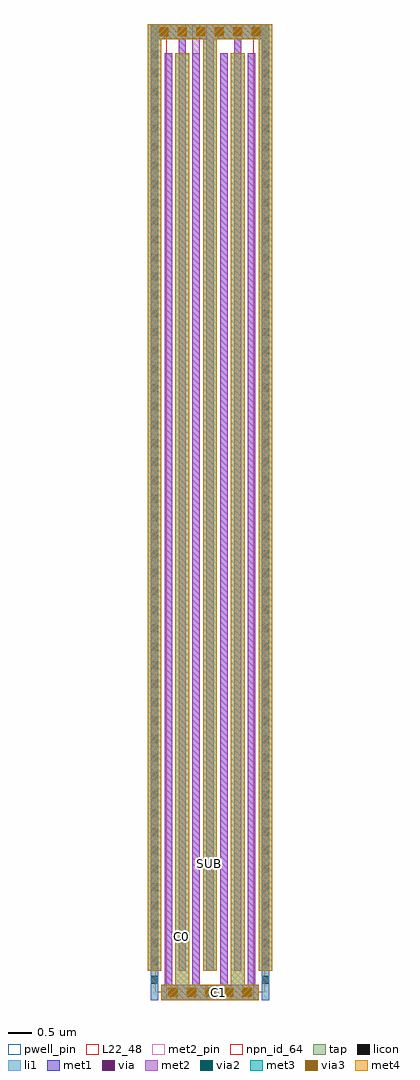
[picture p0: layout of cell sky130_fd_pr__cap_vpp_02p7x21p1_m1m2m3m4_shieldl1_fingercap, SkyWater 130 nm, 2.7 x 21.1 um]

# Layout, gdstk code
import gdstk
lib = gdstk.Library(unit=1e-6, precision=1e-09)
def R(c, l, rs):  # rectangles x0, y0, x1, y1
    for r in rs: c.add(gdstk.rectangle(r[:2], r[2:], *l))
def A(c, l, x, y, w, h, nx, ny, dx, dy):  # array of equal rectangles
    R(c, l, [(x+i*dx, y+j*dy, x+i*dx+w, y+j*dy+h) for i in range(nx) for j in range(ny)])
L22_48 = (22, 48)
tap = (65, 44)
licon = (66, 44)
li1 = (67, 20)
met1 = (68, 20)
via = (68, 44)
met2_pin = (69, 16)
met2 = (69, 20)
via2 = (69, 44)
met3 = (70, 20)
via3 = (70, 44)
met4 = (71, 20)
npn_id_64 = (82, 64)
pwell_pin = (122, 16)

sky130_fd_pr__cap_vpp_02 = lib.new_cell('sky130_fd_pr__cap_vpp_02p7x21p1_m1m2m3m4_shieldl1_fingercap')
R(sky130_fd_pr__cap_vpp_02, L22_48, [(0.405,0,2.295,21.1)])
R(sky130_fd_pr__cap_vpp_02, tap, [(0.065,0,0.235,21.1), (2.465,0,2.635,21.1)])
A(sky130_fd_pr__cap_vpp_02, licon, 0.065, 0.355, 0.17, 0.17, 1, 51, 0, 0.4)
A(sky130_fd_pr__cap_vpp_02, licon, 2.465, 0.355, 0.17, 0.17, 1, 51, 0, 0.4)
R(sky130_fd_pr__cap_vpp_02, li1, [(0.065,0,0.235,21.1), (2.465,0,2.635,21.1)])
A(sky130_fd_pr__cap_vpp_02, via, 0.475, 0.09, 0.15, 0.15, 5, 1, 0.4, 0)
A(sky130_fd_pr__cap_vpp_02, via, 1.475, 20.86, 0.15, 0.15, 3, 1, 0.4, 0)
R(sky130_fd_pr__cap_vpp_02, via, [(0.275,20.86,0.425,21.01)])
R(sky130_fd_pr__cap_vpp_02, met2_pin, [(1.425,0.075,1.605,0.255), (0.69,1.32,0.785,1.42)])
A(sky130_fd_pr__cap_vpp_02, via2, 0.45, 0.065, 0.2, 0.2, 5, 1, 0.4, 0)
A(sky130_fd_pr__cap_vpp_02, via2, 1.45, 20.835, 0.2, 0.2, 3, 1, 0.4, 0)
R(sky130_fd_pr__cap_vpp_02, via2, [(0.25,20.835,0.45,21.035)])
A(sky130_fd_pr__cap_vpp_02, via3, 0.45, 0.065, 0.2, 0.2, 5, 1, 0.4, 0)
A(sky130_fd_pr__cap_vpp_02, via3, 0.25, 20.835, 0.2, 0.2, 6, 1, 0.4, 0)
R(sky130_fd_pr__cap_vpp_02, npn_id_64, [(0.17,0.17,2.53,20.93)])
R(sky130_fd_pr__cap_vpp_02, pwell_pin, [(1.275,2.83,1.38,3.075)])
sky130_fd_pr__cap_vpp_02.add(gdstk.FlexPath([(0.15,20.77),(0.15,0.63)], 0.3, ends="flush", simple_path=True, layer=70, datatype=20))  # met3
sky130_fd_pr__cap_vpp_02.add(gdstk.FlexPath([(2.55,20.77),(2.55,0.63)], 0.3, ends="flush", simple_path=True, layer=70, datatype=20))  # met3
sky130_fd_pr__cap_vpp_02.add(gdstk.FlexPath([(1.35,20.77),(1.35,0.63)], 0.3, ends="flush", simple_path=True, layer=70, datatype=20))  # met3
sky130_fd_pr__cap_vpp_02.add(gdstk.FlexPath([(0.75,20.47),(0.75,0.33)], 0.3, ends="flush", simple_path=True, layer=70, datatype=20))  # met3
sky130_fd_pr__cap_vpp_02.add(gdstk.FlexPath([(1.95,20.47),(1.95,0.33)], 0.3, ends="flush", simple_path=True, layer=70, datatype=20))  # met3
sky130_fd_pr__cap_vpp_02.add(gdstk.FlexPath([(0,20.935),(2.7,20.935)], 0.33, ends="flush", simple_path=True, layer=70, datatype=20))  # met3
sky130_fd_pr__cap_vpp_02.add(gdstk.FlexPath([(0.3,0.165),(2.4,0.165)], 0.33, ends="flush", simple_path=True, layer=70, datatype=20))  # met3
sky130_fd_pr__cap_vpp_02.add(gdstk.FlexPath([(1.27,20.935),(2.63,20.935)], 0.33, ends="flush", simple_path=True, layer=69, datatype=20))  # met2
sky130_fd_pr__cap_vpp_02.add(gdstk.FlexPath([(0.3,0.165),(2.4,0.165)], 0.33, ends="flush", simple_path=True, layer=69, datatype=20))  # met2
sky130_fd_pr__cap_vpp_02.add(gdstk.FlexPath([(0.45,20.47),(0.45,0.33)], 0.16, ends="flush", simple_path=True, layer=69, datatype=20))  # met2
sky130_fd_pr__cap_vpp_02.add(gdstk.FlexPath([(0.15,20.77),(0.15,0.63)], 0.16, ends="flush", simple_path=True, layer=69, datatype=20))  # met2
sky130_fd_pr__cap_vpp_02.add(gdstk.FlexPath([(1.05,21.1),(1.05,0.33)], 0.16, ends="flush", simple_path=True, layer=69, datatype=20))  # met2
sky130_fd_pr__cap_vpp_02.add(gdstk.FlexPath([(0.75,20.77),(0.75,0.63)], 0.16, ends="flush", simple_path=True, layer=69, datatype=20))  # met2
sky130_fd_pr__cap_vpp_02.add(gdstk.FlexPath([(1.65,20.47),(1.65,0.33)], 0.16, ends="flush", simple_path=True, layer=69, datatype=20))  # met2
sky130_fd_pr__cap_vpp_02.add(gdstk.FlexPath([(1.35,20.77),(1.35,0.63)], 0.16, ends="flush", simple_path=True, layer=69, datatype=20))  # met2
sky130_fd_pr__cap_vpp_02.add(gdstk.FlexPath([(2.25,20.47),(2.25,0.33)], 0.16, ends="flush", simple_path=True, layer=69, datatype=20))  # met2
sky130_fd_pr__cap_vpp_02.add(gdstk.FlexPath([(1.95,20.77),(1.95,0.63)], 0.16, ends="flush", simple_path=True, layer=69, datatype=20))  # met2
sky130_fd_pr__cap_vpp_02.add(gdstk.FlexPath([(2.55,20.77),(2.55,0.63)], 0.16, ends="flush", simple_path=True, layer=69, datatype=20))  # met2
sky130_fd_pr__cap_vpp_02.add(gdstk.FlexPath([(0.07,20.935),(0.83,20.935)], 0.33, ends="flush", simple_path=True, layer=69, datatype=20))  # met2
sky130_fd_pr__cap_vpp_02.add(gdstk.FlexPath([(0.75,20.77),(0.75,0.63)], 0.16, ends="flush", simple_path=True, layer=68, datatype=20))  # met1
sky130_fd_pr__cap_vpp_02.add(gdstk.FlexPath([(1.05,20.47),(1.05,0.33)], 0.16, ends="flush", simple_path=True, layer=68, datatype=20))  # met1
sky130_fd_pr__cap_vpp_02.add(gdstk.FlexPath([(0.3,0.165),(2.4,0.165)], 0.33, ends="flush", simple_path=True, layer=68, datatype=20))  # met1
sky130_fd_pr__cap_vpp_02.add(gdstk.FlexPath([(2.25,20.47),(2.25,0.33)], 0.16, ends="flush", simple_path=True, layer=68, datatype=20))  # met1
sky130_fd_pr__cap_vpp_02.add(gdstk.FlexPath([(2.55,20.77),(2.55,0.63)], 0.16, ends="flush", simple_path=True, layer=68, datatype=20))  # met1
sky130_fd_pr__cap_vpp_02.add(gdstk.FlexPath([(1.95,20.77),(1.95,0.63)], 0.16, ends="flush", simple_path=True, layer=68, datatype=20))  # met1
sky130_fd_pr__cap_vpp_02.add(gdstk.FlexPath([(0.07,20.935),(2.63,20.935)], 0.33, ends="flush", simple_path=True, layer=68, datatype=20))  # met1
sky130_fd_pr__cap_vpp_02.add(gdstk.FlexPath([(1.65,20.47),(1.65,0.33)], 0.16, ends="flush", simple_path=True, layer=68, datatype=20))  # met1
sky130_fd_pr__cap_vpp_02.add(gdstk.FlexPath([(0.15,20.77),(0.15,0.63)], 0.16, ends="flush", simple_path=True, layer=68, datatype=20))  # met1
sky130_fd_pr__cap_vpp_02.add(gdstk.FlexPath([(1.35,20.77),(1.35,0.63)], 0.16, ends="flush", simple_path=True, layer=68, datatype=20))  # met1
sky130_fd_pr__cap_vpp_02.add(gdstk.FlexPath([(0.45,20.47),(0.45,0.33)], 0.16, ends="flush", simple_path=True, layer=68, datatype=20))  # met1
sky130_fd_pr__cap_vpp_02.add(gdstk.FlexPath([(0.3,0.165),(2.4,0.165)], 0.33, ends="flush", simple_path=True, layer=71, datatype=20))  # met4
sky130_fd_pr__cap_vpp_02.add(gdstk.FlexPath([(0.15,20.77),(0.15,0.63)], 0.3, ends="flush", simple_path=True, layer=71, datatype=20))  # met4
sky130_fd_pr__cap_vpp_02.add(gdstk.FlexPath([(0,20.935),(2.7,20.935)], 0.33, ends="flush", simple_path=True, layer=71, datatype=20))  # met4
sky130_fd_pr__cap_vpp_02.add(gdstk.FlexPath([(1.35,20.77),(1.35,0.63)], 0.3, ends="flush", simple_path=True, layer=71, datatype=20))  # met4
sky130_fd_pr__cap_vpp_02.add(gdstk.FlexPath([(2.55,20.77),(2.55,0.63)], 0.3, ends="flush", simple_path=True, layer=71, datatype=20))  # met4
sky130_fd_pr__cap_vpp_02.add(gdstk.FlexPath([(0.75,20.47),(0.75,0.33)], 0.3, ends="flush", simple_path=True, layer=71, datatype=20))  # met4
sky130_fd_pr__cap_vpp_02.add(gdstk.FlexPath([(1.95,20.47),(1.95,0.33)], 0.3, ends="flush", simple_path=True, layer=71, datatype=20))  # met4
sky130_fd_pr__cap_vpp_02.add(gdstk.Label('C0', (0.725,1.38), layer=69, texttype=5))
sky130_fd_pr__cap_vpp_02.add(gdstk.Label('C1', (1.53,0.165), layer=69, texttype=5))
sky130_fd_pr__cap_vpp_02.add(gdstk.Label('SUB', (1.33,2.955), layer=64, texttype=59))

lib.write_gds('sky130_fd_pr__cap_vpp_02p7x21p1_m1m2m3m4_shieldl1_fingercap.gds')
